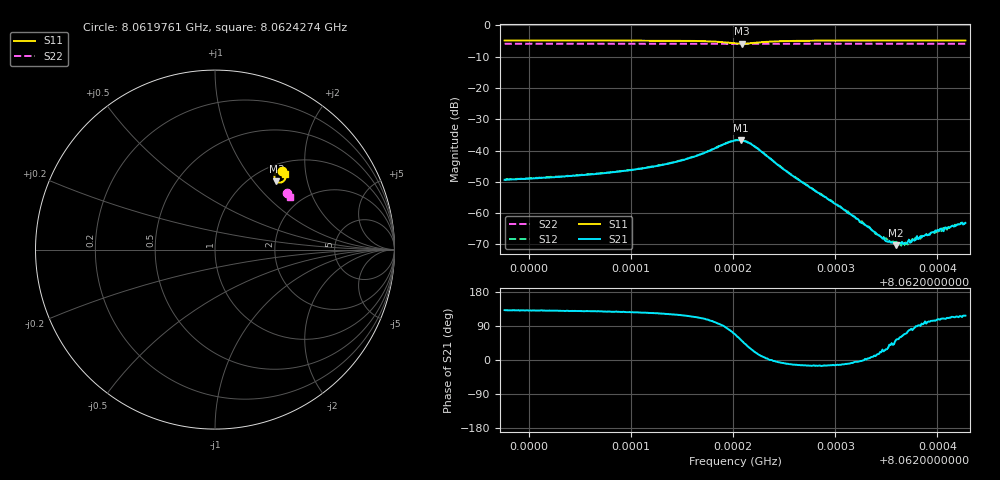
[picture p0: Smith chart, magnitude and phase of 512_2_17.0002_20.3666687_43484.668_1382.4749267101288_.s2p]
#  HZ  S  RI  R  50.00
! Rohde & Schwarz Vector Network Analyzer
! Rohde-Schwarz,ZNB20-2Port,1311601062101988,3.16
! Created: UTC 3/20/2024, 11:15:02 PM
! freq[Hz]  re:S11  im:S11  re:S21  im:S21  re:S12  im:S12  re:S22  im:S22
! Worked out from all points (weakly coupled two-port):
!   401 points, 8.0619761 GHz to 8.0624274 GHz, reference 50 ohm
!   highest |S21| = -36.66 dB at 8.0622074 GHz (marker M1); lowest = -70.2 dB at 8.0623597 GHz (marker M2)
!   lowest |S11| = -5.8 dB at 8.0622085 GHz (marker M3), VSWR 3.10, Z = 63.8 + j65.9 ohm
!   |S11| at or under -10 dB: nowhere
!   |S22| runs from -5.9 to -5.8 dB; largest |S21 - S12| = 0.00094
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8.06197615e9  0.3753 0.437  -0.00226 0.00255  -0.00214 0.00272  0.4026 0.3129
8.06205173e9  0.3813 0.431  -0.00257 0.00314  -0.00238 0.00337  0.4056 0.309
8.06209346e9  0.3853 0.4264  -0.00284 0.00378  -0.00262 0.00399  0.4072 0.3068
8.0621273e9  0.3892 0.4204  -0.00312 0.00486  -0.00288 0.00504  0.4084 0.3047
8.06216227e9  0.3927 0.4073  -0.0032 0.00736  -0.00278 0.00762  0.4095 0.3024
8.06220175e9  0.359 0.3738  0.00549 0.0134  0.00629 0.0132  0.4089 0.2996
8.06220739e9  0.3442 0.3792  0.00868 0.0118  0.00942 0.0113  0.4085 0.2997
8.06220852e9  0.3417 0.3812  0.00924 0.0112  0.00988 0.0107  0.4084 0.2998
8.0622198e9  0.331 0.4084  0.011 0.00484  0.0113 0.00431  0.4087 0.3007
8.06225477e9  0.3598 0.4357  0.00424 -0.000811  0.00427 -0.00105  0.4116 0.3
8.06227733e9  0.3696 0.4349  0.00236 -0.000642  0.00234 -0.000787  0.4128 0.2985
8.06231456e9  0.3783 0.4318  0.000962 -0.000156  0.000957 -0.000237  0.4142 0.2965
8.06234163e9  0.3822 0.4297  0.000434 0.00012  0.000438 8.89e-05  0.4153 0.2951
8.06235291e9  0.3835 0.4289  0.000275 0.000233  0.000325 0.000158  0.4158 0.2944
8.06235968e9  0.3842 0.4283  0.000181 0.000248  0.00022 0.000263  0.416 0.2942
8.06236645e9  0.3849 0.4279  0.000131 0.00029  0.000138 0.000279  0.4162 0.2936
8.06237547e9  0.3859 0.4272  7.23e-05 0.000366  4.4e-05 0.000384  0.4166 0.2932
8.06238224e9  0.3864 0.4268  -1.17e-05 0.0004  3.08e-05 0.000394  0.4168 0.293
8.06238675e9  0.387 0.4264  -4.98e-05 0.000427  -3.72e-05 0.000456  0.417 0.2927
8.06240141e9  0.3883 0.4254  -0.000156 0.00049  -0.000135 0.000537  0.4175 0.2919
8.06242172e9  0.3898 0.4242  -0.000286 0.000595  -0.00019 0.000601  0.4181 0.2908
8.06242736e9  0.3903 0.4237  -0.000316 0.000621  -0.000245 0.00065  0.4184 0.2907
